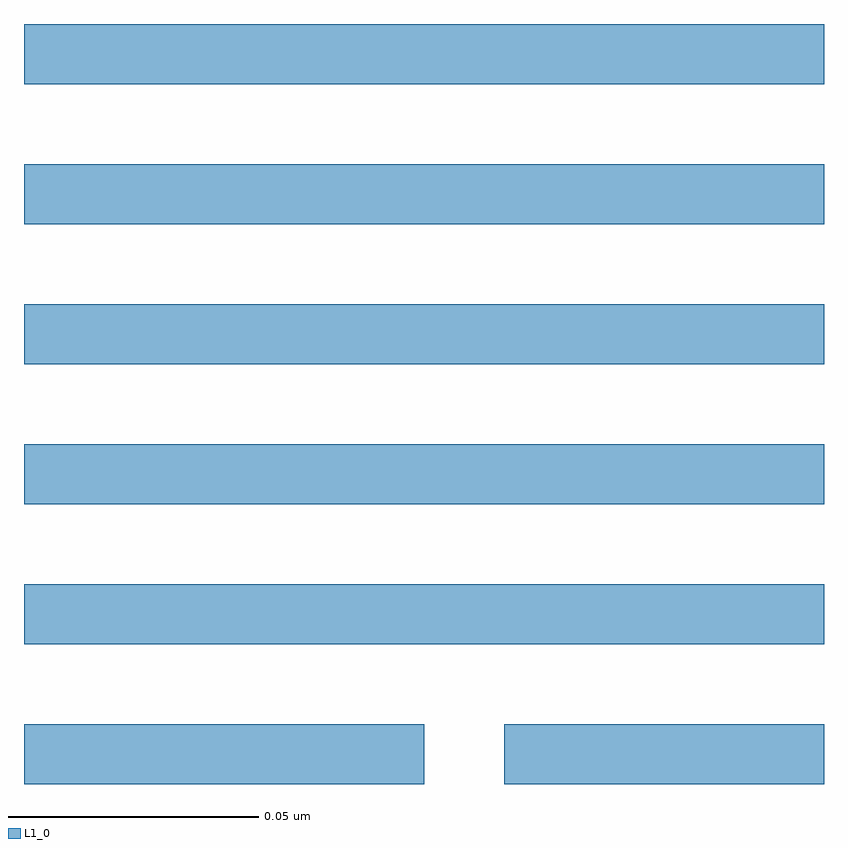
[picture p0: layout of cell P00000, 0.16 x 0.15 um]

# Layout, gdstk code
import gdstk
lib = gdstk.Library(unit=1e-6, precision=1e-10)
def R(c, l, rs):  # rectangles x0, y0, x1, y1
    for r in rs: c.add(gdstk.rectangle(r[:2], r[2:], *l))
def A(c, l, x, y, w, h, nx, ny, dx, dy):  # array of equal rectangles
    R(c, l, [(x+i*dx, y+j*dy, x+i*dx+w, y+j*dy+h) for i in range(nx) for j in range(ny)])
L1_0 = (1, 0)

p00000 = lib.new_cell('P00000')
A(p00000, L1_0, 0, 0.028, 0.16, 0.012, 1, 5, 0, 0.028)
R(p00000, L1_0, [(0,0,0.08,0.012), (0.096,0,0.16,0.012)])

lib.write_gds('P00000.gds')
